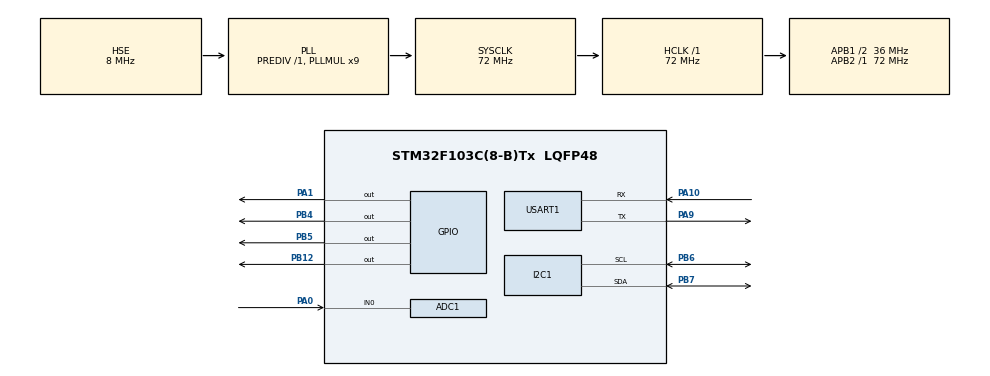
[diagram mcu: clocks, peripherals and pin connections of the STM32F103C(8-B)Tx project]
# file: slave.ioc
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ADC1.Channel-12\#ChannelRegularConversion=ADC_CHANNEL_0
ADC1.NbrOfConversionFlag=1
ADC1.Rank-12\#ChannelRegularConversion=1
ADC1.SamplingTime-12\#ChannelRegularConversion=ADC_SAMPLETIME_1CYCLE_5
ADC1.master=1
Mcu.Family=STM32F1
Mcu.Name=STM32F103C(8-B)Tx
Mcu.Package=LQFP48
NVIC.PriorityGroup=NVIC_PRIORITYGROUP_4
PA0-WKUP.Signal=ADCx_IN0
PA1.Signal=GPIO_Output
PA10.Mode=Asynchronous
PA10.Signal=USART1_RX
PA13.Mode=Serial_Wire
PA13.Signal=SYS_JTMS-SWDIO
PA14.Mode=Serial_Wire
PA14.Signal=SYS_JTCK-SWCLK
PA9.Mode=Asynchronous
PA9.Signal=USART1_TX
PB12.Signal=GPIO_Output
PB4.PinState=GPIO_PIN_SET
PB4.Signal=GPIO_Output
PB5.PinState=GPIO_PIN_SET
PB5.Signal=GPIO_Output
PB6.Mode=I2C
PB6.Signal=I2C1_SCL
PB7.Mode=I2C
PB7.Signal=I2C1_SDA
PD0-OSC_IN.Mode=HSE-External-Oscillator
PD0-OSC_IN.Signal=RCC_OSC_IN
PD1-OSC_OUT.Mode=HSE-External-Oscillator
PD1-OSC_OUT.Signal=RCC_OSC_OUT
ProjectManager.HeapSize=0x200
ProjectManager.StackSize=0x400
ProjectManager.TargetToolchain=STM32CubeIDE
RCC.ADCPresc=RCC_ADCPCLK2_DIV6
RCC.AHBFreq_Value=72000000
RCC.APB1CLKDivider=RCC_HCLK_DIV2
RCC.APB1Freq_Value=36000000
RCC.APB1TimFreq_Value=72000000
RCC.APB2Freq_Value=72000000
RCC.APB2TimFreq_Value=72000000
RCC.HCLKFreq_Value=72000000
RCC.PLLMUL=RCC_PLL_MUL9
RCC.PLLSourceVirtual=RCC_PLLSOURCE_HSE
RCC.SYSCLKFreq_VALUE=72000000
RCC.SYSCLKSource=RCC_SYSCLKSOURCE_PLLCLK
RCC.USBFreq_Value=72000000
SH.ADCx_IN0.0=ADC1_IN0,IN0
TIM1.AutoReloadPreload=TIM_AUTORELOAD_PRELOAD_DISABLE
TIM1.Prescaler=72-1
USART1.VirtualMode=VM_ASYNC
VP_TIM1_VS_ClockSourceINT.Mode=Internal
board=custom

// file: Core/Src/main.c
/* USER CODE BEGIN Header */
/**
  ******************************************************************************
  * @file           : main.c
  * @brief          : Main program body
  ******************************************************************************
  * @attention
  *
  * Copyright (c) 2024 STMicroelectronics.
  * All rights reserved.
  *
  * This software is licensed under terms that can be found in the LICENSE file
  * in the root directory of this software component.
  * If no LICENSE file comes with this software, it is provided AS-IS.
  *
  ******************************************************************************
  */
/* USER CODE END Header */
#include "main.h"
#include "adc.h"
#include "i2c.h"
#include "tim.h"
#include "usart.h"
#include "gpio.h"

/* USER CODE BEGIN Includes */
#include "stdio.h"
/* USER CODE END Includes */

void SystemClock_Config(void);

/* USER CODE BEGIN 0 */

//TIM1定时器实现us级延时
void delay_us(uint16_t nus)
{
	__HAL_TIM_SET_COUNTER(&htim1, 0);
	__HAL_TIM_ENABLE(&htim1);
	//定时器1的计数器值达到或超过了参数nus指定的微秒数就跳出循环，在循环体内部，什么也不做，只是等待计数器值增加到足够的大小。
	while(__HAL_TIM_GET_COUNTER(&htim1) < nus)
	{
	}
	__HAL_TIM_DISABLE(&htim1);//当定时器1的计数器值达到或超过了指定的微秒数后，定时器1被禁用，停止计时。
}

/* USER CODE END 0 */

int main(void)
{

  /* USER CODE BEGIN 1 */
  uint8_t temperature = 0;//给一个初始化，用于判断
  uint8_t humidity = 0;
  uint32_t smoke_value = 0;
  char data[100];

  /* USER CODE END 1 */

  /* MCU Configuration--------------------------------------------------------*/

  /* Reset of all peripherals, Initializes the Flash interface and the Systick. */
  HAL_Init();

  /* Configure the system clock */
  SystemClock_Config();

  /* Initialize all configured peripherals */
  MX_GPIO_Init();
  MX_TIM1_Init();
  MX_USART1_UART_Init();
  MX_ADC1_Init();
  MX_I2C1_Init();
  /* USER CODE BEGIN 2 */

  //光照模块初始化
  Init_BH1750();
  //上电先检测,电路是非有问题
  DHT11_REST(); //复位DHT11

  /* USER CODE END 2 */

  /* Infinite loop */
  while (1)
  {

    /* USER CODE BEGIN 3 */

	//烟雾传感器
	HAL_ADC_Start(&hadc1); //启动ADC1转换
	HAL_ADC_PollForConversion(&hadc1, 50);  //等待ADC转换完成
	smoke_value = HAL_ADC_GetValue(&hadc1) * 100 / 4095; //烟雾浓度的值，范围0-100
	//printf("smoke = %ld %% \r\n", smoke_value);

	//dht11传感器
	DHT11_Read_Data(&humidity,&temperature);
	//printf("temperature : %d ^C\r\n ",temperature) ;
	//printf ("humidity : %d %% \r\n",humidity);

	//GY-302传感器
	//printf("Light intensity : %ld lx\r\n",Value_GY30());

	//sprintf函数：将格式化化后的字符串写入到字符数组中
	sprintf(data, "temperature:%d, humidity:%d, Light intensity:%ld, smoke:%ld\r\n",temperature, humidity, Value_GY30(), smoke_value);
	printf(data);

	//光照和灌溉
	if(Value_GY30() <= 20)
		HAL_GPIO_WritePin(GPIOB, GPIO_PIN_4, RESET);
	else
		HAL_GPIO_WritePin(GPIOB, GPIO_PIN_4, SET);

	if(temperature >= 30)
		HAL_GPIO_WritePin(GPIOB, GPIO_PIN_5, RESET);
	else
		HAL_GPIO_WritePin(GPIOB, GPIO_PIN_5, SET);

	HAL_Delay(5000);

  }
  /* USER CODE END 3 */
}

void SystemClock_Config(void)
{
  RCC_OscInitTypeDef RCC_OscInitStruct = {0};
  RCC_ClkInitTypeDef RCC_ClkInitStruct = {0};
  RCC_PeriphCLKInitTypeDef PeriphClkInit = {0};

  /** Initializes the RCC Oscillators according to the specified parameters
  * in the RCC_OscInitTypeDef structure.
  */
  RCC_OscInitStruct.OscillatorType = RCC_OSCILLATORTYPE_HSE;
  RCC_OscInitStruct.HSEState = RCC_HSE_ON;
  RCC_OscInitStruct.HSEPredivValue = RCC_HSE_PREDIV_DIV1;
  RCC_OscInitStruct.HSIState = RCC_HSI_ON;
  RCC_OscInitStruct.PLL.PLLState = RCC_PLL_ON;
  RCC_OscInitStruct.PLL.PLLSource = RCC_PLLSOURCE_HSE;
  RCC_OscInitStruct.PLL.PLLMUL = RCC_PLL_MUL9;
  if (HAL_RCC_OscConfig(&RCC_OscInitStruct) != HAL_OK)
  {
    Error_Handler();
  }

  /** Initializes the CPU, AHB and APB buses clocks
  */
  RCC_ClkInitStruct.ClockType = RCC_CLOCKTYPE_HCLK|RCC_CLOCKTYPE_SYSCLK
                              |RCC_CLOCKTYPE_PCLK1|RCC_CLOCKTYPE_PCLK2;
  RCC_ClkInitStruct.SYSCLKSource = RCC_SYSCLKSOURCE_PLLCLK;
  RCC_ClkInitStruct.AHBCLKDivider = RCC_SYSCLK_DIV1;
  RCC_ClkInitStruct.APB1CLKDivider = RCC_HCLK_DIV2;
  RCC_ClkInitStruct.APB2CLKDivider = RCC_HCLK_DIV1;

  if (HAL_RCC_ClockConfig(&RCC_ClkInitStruct, FLASH_LATENCY_2) != HAL_OK)
  {
    Error_Handler();
  }
  PeriphClkInit.PeriphClockSelection = RCC_PERIPHCLK_ADC;
  PeriphClkInit.AdcClockSelection = RCC_ADCPCLK2_DIV6;
  if (HAL_RCCEx_PeriphCLKConfig(&PeriphClkInit) != HAL_OK)
  {
    Error_Handler();
  }
}

void Error_Handler(void)
{
  __disable_irq();
  while (1)
  {
  }
}
